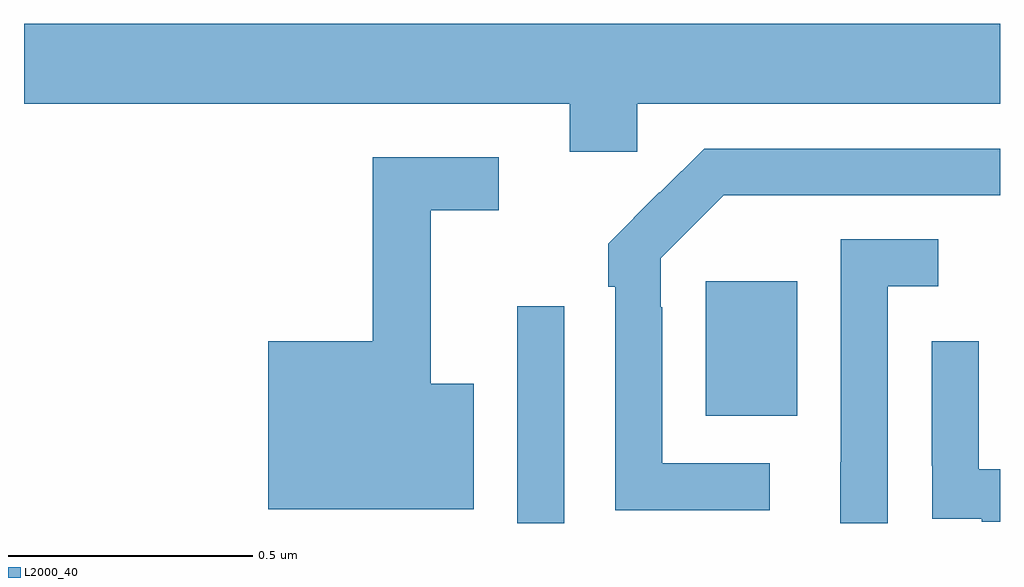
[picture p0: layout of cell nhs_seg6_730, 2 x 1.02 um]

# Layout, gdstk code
import gdstk
lib = gdstk.Library(unit=1e-6, precision=1e-09)
def R(c, l, rs):  # rectangles x0, y0, x1, y1
    for r in rs: c.add(gdstk.rectangle(r[:2], r[2:], *l))
def P(c, l, *ps):  # polygons
    for p in ps: c.add(gdstk.Polygon(p, *l))
L2000_40 = (2000, 40)

nhs_seg6_730 = lib.new_cell('nhs_seg6_730')
R(nhs_seg6_730, L2000_40, [(121.011,922.5,121.107,922.945), (121.397,922.721,121.585,922.996)])
P(nhs_seg6_730, L2000_40, [(121.257,923.36),(122,923.36),(122,923.524),(120,923.524),(120,923.36),(121.118,923.36),(121.118,923.262),(121.257,923.262)],
  [(121.528,922.623),(121.308,922.623),(121.308,922.943),(121.305,922.943),(121.305,923.043),(121.434,923.172),(122,923.172),(122,923.268),(121.394,923.268),(121.303,923.177),(121.302,923.178),(121.197,923.073),(121.197,922.985),(121.212,922.985),(121.212,922.527),(121.528,922.527)],
  [(120.922,922.786),(120.833,922.786),(120.833,923.142),(120.973,923.142),(120.973,923.25),(120.715,923.25),(120.715,922.873),(120.5,922.873),(120.5,922.529),(120.922,922.529)],
  [(121.77,922.986),(121.873,922.986),(121.873,923.082),(121.674,923.082),(121.674,922.625),(121.673,922.625),(121.673,922.5),(121.77,922.5)],
  [(122,922.611),(121.956,922.611),(121.956,922.873),(121.86,922.873),(121.86,922.618),(121.861,922.618),(121.861,922.509),(121.963,922.509),(121.963,922.503),(122,922.503)])

lib.write_gds('nhs_seg6_730.gds')
